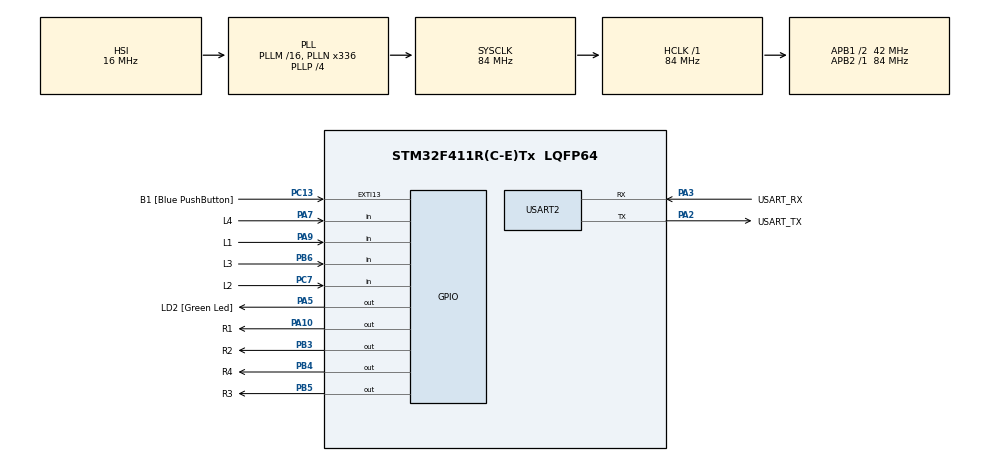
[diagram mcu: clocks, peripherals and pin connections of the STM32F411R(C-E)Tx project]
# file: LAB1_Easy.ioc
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Mcu.Family=STM32F4
Mcu.Name=STM32F411R(C-E)Tx
Mcu.Package=LQFP64
NVIC.PriorityGroup=NVIC_PRIORITYGROUP_0
PA10.GPIO_Label=R1
PA10.GPIO_ModeDefaultOutputPP=GPIO_MODE_OUTPUT_OD
PA10.GPIO_PuPd=GPIO_NOPULL
PA10.Signal=GPIO_Output
PA13.GPIO_Label=TMS
PA13.Mode=Serial_Wire
PA13.Signal=SYS_JTMS-SWDIO
PA14.GPIO_Label=TCK
PA14.Mode=Serial_Wire
PA14.Signal=SYS_JTCK-SWCLK
PA2.GPIO_Label=USART_TX
PA2.Mode=Asynchronous
PA2.Signal=USART2_TX
PA3.GPIO_Label=USART_RX
PA3.Mode=Asynchronous
PA3.Signal=USART2_RX
PA5.GPIO_Label=LD2 [Green Led]
PA5.Signal=GPIO_Output
PA7.GPIO_Label=L4
PA7.GPIO_PuPd=GPIO_PULLUP
PA7.Signal=GPIO_Input
PA9.GPIO_Label=L1
PA9.GPIO_PuPd=GPIO_PULLUP
PA9.Signal=GPIO_Input
PB3.GPIO_Label=R2
PB3.GPIO_ModeDefaultOutputPP=GPIO_MODE_OUTPUT_OD
PB3.GPIO_PuPd=GPIO_NOPULL
PB3.Signal=GPIO_Output
PB4.GPIO_Label=R4
PB4.GPIO_ModeDefaultOutputPP=GPIO_MODE_OUTPUT_OD
PB4.GPIO_PuPd=GPIO_NOPULL
PB4.Signal=GPIO_Output
PB5.GPIO_Label=R3
PB5.GPIO_ModeDefaultOutputPP=GPIO_MODE_OUTPUT_OD
PB5.GPIO_PuPd=GPIO_NOPULL
PB5.Signal=GPIO_Output
PB6.GPIO_Label=L3
PB6.GPIO_PuPd=GPIO_PULLUP
PB6.Signal=GPIO_Input
PC13-ANTI_TAMP.GPIO_Label=B1 [Blue PushButton]
PC13-ANTI_TAMP.GPIO_ModeDefaultEXTI=GPIO_MODE_IT_FALLING
PC13-ANTI_TAMP.Signal=GPXTI13
PC14-OSC32_IN.Mode=LSE-External-Oscillator
PC14-OSC32_IN.Signal=RCC_OSC32_IN
PC15-OSC32_OUT.Mode=LSE-External-Oscillator
PC15-OSC32_OUT.Signal=RCC_OSC32_OUT
PC7.GPIO_Label=L2
PC7.GPIO_PuPd=GPIO_PULLUP
PC7.Signal=GPIO_Input
PH0\ -\ OSC_IN.Mode=HSE-External-Clock-Source
PH0\ -\ OSC_IN.Signal=RCC_OSC_IN
PH1\ -\ OSC_OUT.Mode=HSE-External-Clock-Source
PH1\ -\ OSC_OUT.Signal=RCC_OSC_OUT
ProjectManager.HeapSize=0x200
ProjectManager.StackSize=0x400
ProjectManager.TargetToolchain=STM32CubeIDE
RCC.48MHZClocksFreq_Value=84000000
RCC.AHBFreq_Value=84000000
RCC.APB1CLKDivider=RCC_HCLK_DIV2
RCC.APB1Freq_Value=42000000
RCC.APB1TimFreq_Value=84000000
RCC.APB2Freq_Value=84000000
RCC.APB2TimFreq_Value=84000000
RCC.CortexFreq_Value=84000000
RCC.FLatency-AdvancedSettings=FLASH_LATENCY_2
RCC.HCLKFreq_Value=84000000
RCC.HSE_VALUE=8000000
RCC.HSI_VALUE=16000000
RCC.PLLN=336
RCC.PLLP=RCC_PLLP_DIV4
RCC.SYSCLKFreq_VALUE=84000000
RCC.SYSCLKSource=RCC_SYSCLKSOURCE_PLLCLK
RCC.VCOOutputFreq_Value=336000000
USART2.VirtualMode=VM_ASYNC
board=NUCLEO-F411RE

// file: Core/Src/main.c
/* USER CODE BEGIN Header */
/**
  ******************************************************************************
  * @file           : main.c
  * @brief          : Main program body
  ******************************************************************************
  * @attention
  *
  * Copyright (c) 2023 STMicroelectronics.
  * All rights reserved.
  *
  * This software is licensed under terms that can be found in the LICENSE file
  * in the root directory of this software component.
  * If no LICENSE file comes with this software, it is provided AS-IS.
  *
  ******************************************************************************
  */
/* USER CODE END Header */
#include "main.h"

UART_HandleTypeDef huart2;

/* USER CODE BEGIN PV */

//create Structure of PortPin ,Typedef it to type name PortPin
typedef struct _PortPin
{
	GPIO_TypeDef* PORT;
	uint16_t PIN;
} PortPin;

//declare PortPin R,L
PortPin R[4] =
{
		{GPIOA,GPIO_PIN_10},
		{GPIOB,GPIO_PIN_3},
		{GPIOB,GPIO_PIN_5},
		{GPIOB,GPIO_PIN_4}
};

PortPin L[4] =
{
		{GPIOA,GPIO_PIN_9},
		{GPIOC,GPIO_PIN_7},
		{GPIOB,GPIO_PIN_6},
		{GPIOA,GPIO_PIN_7}
};

//For Button Contenter
uint16_t ButtonMatrix=0;
uint16_t State=0;
uint16_t Count=0;
/* USER CODE END PV */

void SystemClock_Config(void);
static void MX_GPIO_Init(void);
static void MX_USART2_UART_Init(void);
/* USER CODE BEGIN PFP */
void ReadMatrixButton_1Row();
/* USER CODE END PFP */

int main(void)
{

  /* MCU Configuration--------------------------------------------------------*/

  /* Reset of all peripherals, Initializes the Flash interface and the Systick. */
  HAL_Init();

  /* Configure the system clock */
  SystemClock_Config();

  /* Initialize all configured peripherals */
  MX_GPIO_Init();
  MX_USART2_UART_Init();

  /* Infinite loop */
  while (1)
  {

    /* USER CODE BEGIN 3 */
	  //Call function every 10 ms = 100Hz
	  static uint32_t timestamp=0;
	  if(HAL_GetTick()>=timestamp)
	  {
		  timestamp =HAL_GetTick() + 10;
		  ReadMatrixButton_1Row();
		  switch(State)
		  {
		  case 0://number 6
			  Count = 0;
			  if(ButtonMatrix == 32)
			  {
				  State = 1;
			  }
			  else if(ButtonMatrix == 1)
			  {
				  HAL_GPIO_WritePin(GPIOA, GPIO_PIN_5, GPIO_PIN_RESET);
				  State = 0;
			  }
			  break;

		  case 1://number 4
			  if(ButtonMatrix == 8192)
			  {
				  State = 2;
			  }
			  else if(ButtonMatrix == 1)
			  {
				  HAL_GPIO_WritePin(GPIOA, GPIO_PIN_5, GPIO_PIN_RESET);
				  State = 0;
			  }
			  break;

		  case 2://number 3
			  if(ButtonMatrix == 64)
			  {
				  State = 3;
			  }
			  else if(ButtonMatrix == 1)
			  {
				  HAL_GPIO_WritePin(GPIOA, GPIO_PIN_5, GPIO_PIN_RESET);
				  State = 0;
			  }
			  break;

		  case 3://number 4
			  if(ButtonMatrix == 8192)
			  {
				  State = 4;
			  }
			  else if(ButtonMatrix == 1)
			  {
				  HAL_GPIO_WritePin(GPIOA, GPIO_PIN_5, GPIO_PIN_RESET);
				  State = 0;
			  }
			  break;

		  case 4 ://number 0
			  if(ButtonMatrix == 32768)
			  {
				  State = 5;
			  }
			  else if(ButtonMatrix == 1)
			  {
				  HAL_GPIO_WritePin(GPIOA, GPIO_PIN_5, GPIO_PIN_RESET);
				  State = 0;
			  }
			  break;

		  case 5://number 5
			  if(ButtonMatrix == 512)
			  {
				  State = 6;
			  }
			  else if(ButtonMatrix == 1)
			  {
				  HAL_GPIO_WritePin(GPIOA, GPIO_PIN_5, GPIO_PIN_RESET);
				  State = 0;
			  }
			  break;

		  case 6://number 0
			  if(ButtonMatrix == 32768)
			  {
				  State = 7;
				  while(ButtonMatrix == 32768)
				  {
					  ReadMatrixButton_1Row();
				  }
			  }
			  else if(ButtonMatrix == 1)
			  {
				  HAL_GPIO_WritePin(GPIOA, GPIO_PIN_5, GPIO_PIN_RESET);
				  State = 0;
			  }
			  break;

		  case 7://number 0
			  if(ButtonMatrix == 32768)
			  {
				  State = 8;
				  while(ButtonMatrix == 32768)
				  {
					  ReadMatrixButton_1Row();
				  }
			  }
			  else if(ButtonMatrix == 1)
			  {
				  HAL_GPIO_WritePin(GPIOA, GPIO_PIN_5, GPIO_PIN_RESET);
				  State = 0;
			  }
			  break;

		  case 8://number 0
			  if(ButtonMatrix == 32768)
			  {
				  State = 9;
				  while(ButtonMatrix == 32768)
				  {
					  ReadMatrixButton_1Row();
				  }
			  }
			  else if(ButtonMatrix == 1)
			  {
				  HAL_GPIO_WritePin(GPIOA, GPIO_PIN_5, GPIO_PIN_RESET);
				  State = 0;
			  }
			  break;

		  case 9://number 5
			  if(ButtonMatrix == 512)
			  {
				  Count = 1;
				  State = 10;
				  while(ButtonMatrix == 512)
				  {
					  ReadMatrixButton_1Row();
				  }
			  }

			  else if(ButtonMatrix == 1)
			  {
				  HAL_GPIO_WritePin(GPIOA, GPIO_PIN_5, GPIO_PIN_RESET);
				  State = 0;
			  }
			  break;

		  case 10://number 2
			  if(ButtonMatrix == 1024)
			  {
				  State = 11;
				  while(ButtonMatrix == 1024)
				  {
					  ReadMatrixButton_1Row();
				  }
			  }
			  else if(ButtonMatrix == 512)
			  {
				  Count = 0;
				  State = 0;
			  }
			  else if(ButtonMatrix == 1)
			  {
				  HAL_GPIO_WritePin(GPIOA, GPIO_PIN_5, GPIO_PIN_RESET);
				  State = 0;
			  }
			  break;

		  case 11://number ok
			  if(Count == 1)
			  {
				  if(ButtonMatrix == 8)
				  {
					  HAL_GPIO_WritePin(GPIOA, GPIO_PIN_5, GPIO_PIN_SET);
				  }
				  else if(ButtonMatrix == 1024)
				  {
					  Count = 0;
					  State = 0;
					  while(ButtonMatrix == 1024)
					  {
						  ReadMatrixButton_1Row();
					  }
				  }
				  else if(ButtonMatrix == 1)
				  {
					  Count = 0;
					  State = 0;
				  }
			  }
			  else if(ButtonMatrix == 1)
			  {
				  HAL_GPIO_WritePin(GPIOA, GPIO_PIN_5, GPIO_PIN_RESET);
				  State = 0;
			  }
			  break;
		  }

	  }
  }
  /* USER CODE END 3 */
}

void SystemClock_Config(void)
{
  RCC_OscInitTypeDef RCC_OscInitStruct = {0};
  RCC_ClkInitTypeDef RCC_ClkInitStruct = {0};

  /** Configure the main internal regulator output voltage
  */
  __HAL_RCC_PWR_CLK_ENABLE();
  __HAL_PWR_VOLTAGESCALING_CONFIG(PWR_REGULATOR_VOLTAGE_SCALE1);

  /** Initializes the RCC Oscillators according to the specified parameters
  * in the RCC_OscInitTypeDef structure.
  */
  RCC_OscInitStruct.OscillatorType = RCC_OSCILLATORTYPE_HSI;
  RCC_OscInitStruct.HSIState = RCC_HSI_ON;
  RCC_OscInitStruct.HSICalibrationValue = RCC_HSICALIBRATION_DEFAULT;
  RCC_OscInitStruct.PLL.PLLState = RCC_PLL_ON;
  RCC_OscInitStruct.PLL.PLLSource = RCC_PLLSOURCE_HSI;
  RCC_OscInitStruct.PLL.PLLM = 16;
  RCC_OscInitStruct.PLL.PLLN = 336;
  RCC_OscInitStruct.PLL.PLLP = RCC_PLLP_DIV4;
  RCC_OscInitStruct.PLL.PLLQ = 4;
  if (HAL_RCC_OscConfig(&RCC_OscInitStruct) != HAL_OK)
  {
    Error_Handler();
  }

  /** Initializes the CPU, AHB and APB buses clocks
  */
  RCC_ClkInitStruct.ClockType = RCC_CLOCKTYPE_HCLK|RCC_CLOCKTYPE_SYSCLK
                              |RCC_CLOCKTYPE_PCLK1|RCC_CLOCKTYPE_PCLK2;
  RCC_ClkInitStruct.SYSCLKSource = RCC_SYSCLKSOURCE_PLLCLK;
  RCC_ClkInitStruct.AHBCLKDivider = RCC_SYSCLK_DIV1;
  RCC_ClkInitStruct.APB1CLKDivider = RCC_HCLK_DIV2;
  RCC_ClkInitStruct.APB2CLKDivider = RCC_HCLK_DIV1;

  if (HAL_RCC_ClockConfig(&RCC_ClkInitStruct, FLASH_LATENCY_2) != HAL_OK)
  {
    Error_Handler();
  }
}

static void MX_USART2_UART_Init(void)
{

  huart2.Instance = USART2;
  huart2.Init.BaudRate = 115200;
  huart2.Init.WordLength = UART_WORDLENGTH_8B;
  huart2.Init.StopBits = UART_STOPBITS_1;
  huart2.Init.Parity = UART_PARITY_NONE;
  huart2.Init.Mode = UART_MODE_TX_RX;
  huart2.Init.HwFlowCtl = UART_HWCONTROL_NONE;
  huart2.Init.OverSampling = UART_OVERSAMPLING_16;
  if (HAL_UART_Init(&huart2) != HAL_OK)
  {
    Error_Handler();
  }

}

static void MX_GPIO_Init(void)
{
  GPIO_InitTypeDef GPIO_InitStruct = {0};

  /* GPIO Ports Clock Enable */
  __HAL_RCC_GPIOC_CLK_ENABLE();
  __HAL_RCC_GPIOH_CLK_ENABLE();
  __HAL_RCC_GPIOA_CLK_ENABLE();
  __HAL_RCC_GPIOB_CLK_ENABLE();

  /*Configure GPIO pin Output Level */
  HAL_GPIO_WritePin(GPIOA, LD2_Pin|R1_Pin, GPIO_PIN_RESET);

  /*Configure GPIO pin Output Level */
  HAL_GPIO_WritePin(GPIOB, R2_Pin|R4_Pin|R3_Pin, GPIO_PIN_RESET);

  /*Configure GPIO pin : B1_Pin */
  GPIO_InitStruct.Pin = B1_Pin;
  GPIO_InitStruct.Mode = GPIO_MODE_IT_FALLING;
  GPIO_InitStruct.Pull = GPIO_NOPULL;
  HAL_GPIO_Init(B1_GPIO_Port, &GPIO_InitStruct);

  /*Configure GPIO pin : LD2_Pin */
  GPIO_InitStruct.Pin = LD2_Pin;
  GPIO_InitStruct.Mode = GPIO_MODE_OUTPUT_PP;
  GPIO_InitStruct.Pull = GPIO_NOPULL;
  GPIO_InitStruct.Speed = GPIO_SPEED_FREQ_LOW;
  HAL_GPIO_Init(LD2_GPIO_Port, &GPIO_InitStruct);

  /*Configure GPIO pins : L4_Pin L1_Pin */
  GPIO_InitStruct.Pin = L4_Pin|L1_Pin;
  GPIO_InitStruct.Mode = GPIO_MODE_INPUT;
  GPIO_InitStruct.Pull = GPIO_PULLUP;
  HAL_GPIO_Init(GPIOA, &GPIO_InitStruct);

  /*Configure GPIO pin : L2_Pin */
  GPIO_InitStruct.Pin = L2_Pin;
  GPIO_InitStruct.Mode = GPIO_MODE_INPUT;
  GPIO_InitStruct.Pull = GPIO_PULLUP;
  HAL_GPIO_Init(L2_GPIO_Port, &GPIO_InitStruct);

  /*Configure GPIO pin : R1_Pin */
  GPIO_InitStruct.Pin = R1_Pin;
  GPIO_InitStruct.Mode = GPIO_MODE_OUTPUT_OD;
  GPIO_InitStruct.Pull = GPIO_NOPULL;
  GPIO_InitStruct.Speed = GPIO_SPEED_FREQ_LOW;
  HAL_GPIO_Init(R1_GPIO_Port, &GPIO_InitStruct);

  /*Configure GPIO pins : R2_Pin R4_Pin R3_Pin */
  GPIO_InitStruct.Pin = R2_Pin|R4_Pin|R3_Pin;
  GPIO_InitStruct.Mode = GPIO_MODE_OUTPUT_OD;
  GPIO_InitStruct.Pull = GPIO_NOPULL;
  GPIO_InitStruct.Speed = GPIO_SPEED_FREQ_LOW;
  HAL_GPIO_Init(GPIOB, &GPIO_InitStruct);

  /*Configure GPIO pin : L3_Pin */
  GPIO_InitStruct.Pin = L3_Pin;
  GPIO_InitStruct.Mode = GPIO_MODE_INPUT;
  GPIO_InitStruct.Pull = GPIO_PULLUP;
  HAL_GPIO_Init(L3_GPIO_Port, &GPIO_InitStruct);

}

/* USER CODE BEGIN 4 */
void ReadMatrixButton_1Row()
{
	//
	static uint8_t X = 0;

	//READ L1-L4
	register int i;
	for(i=0;i<4;i++)
	{
		if(HAL_GPIO_ReadPin(L[i].PORT, L[i].PIN))
		{
			ButtonMatrix &= ~(1<<(X*4+i));

		}
		else
		{
			ButtonMatrix |= 1<<(X*4+i);

		}

	}
	//SET RX
	HAL_GPIO_WritePin(R[X].PORT, R[X].PIN, 1);
	//RESET RX+1%4
	HAL_GPIO_WritePin(R[(X+1)%4].PORT, R[(X+1)%4].PIN, 0);
	X++;
	X%=4;
}
/* USER CODE END 4 */

void Error_Handler(void)
{
  __disable_irq();
  while (1)
  {
  }
}
